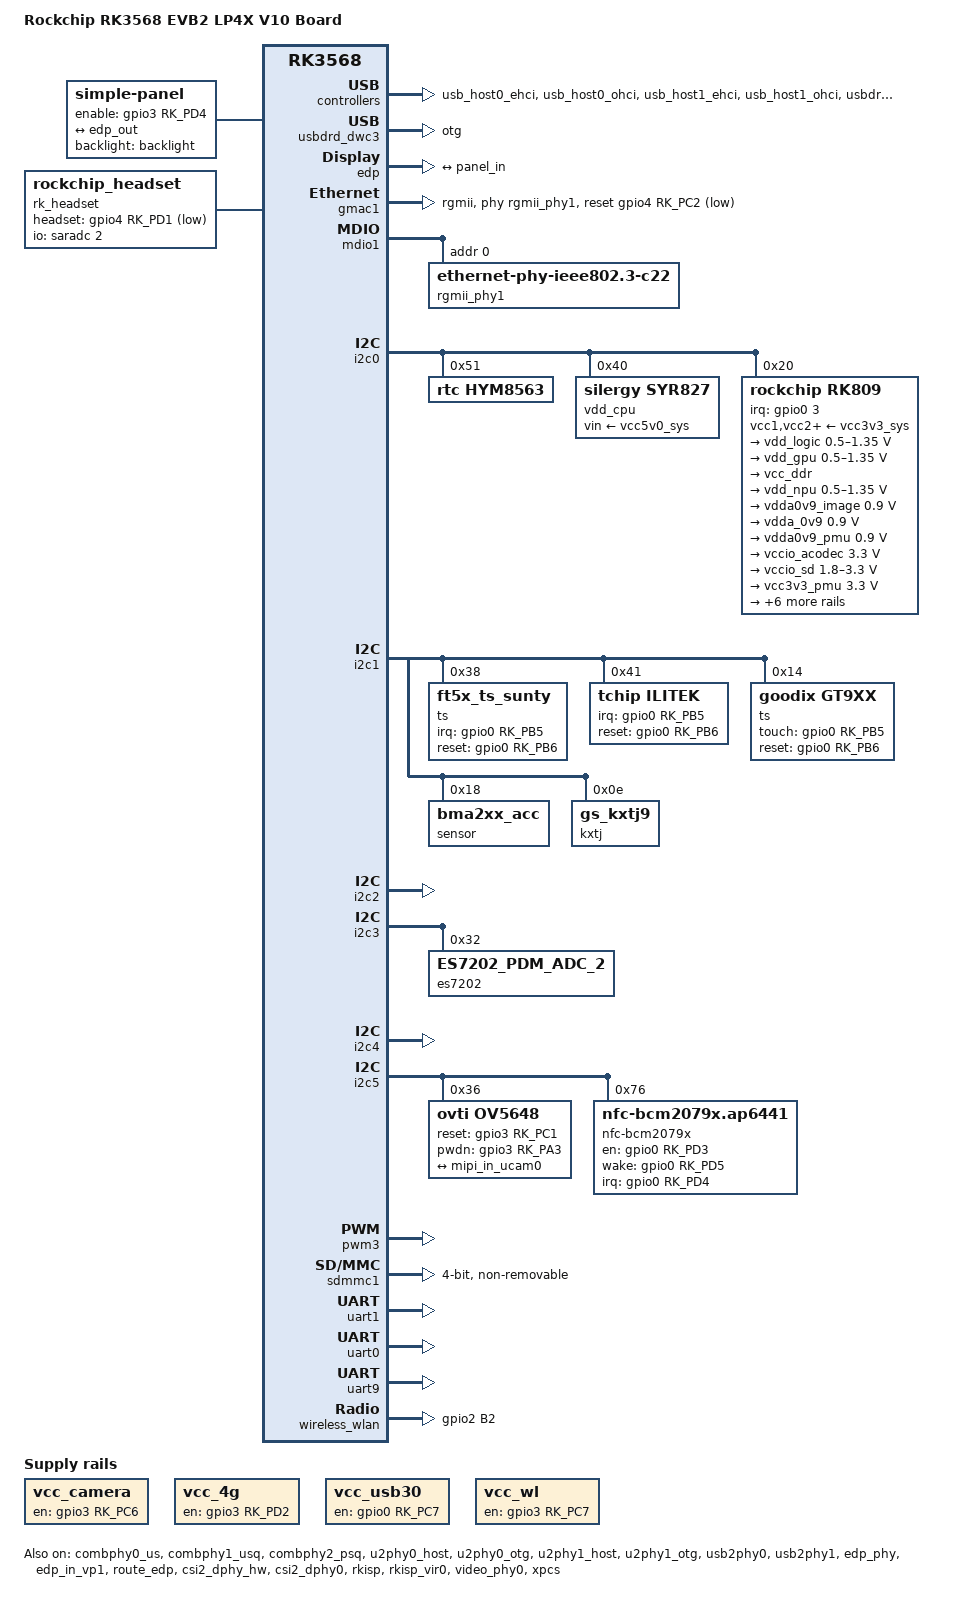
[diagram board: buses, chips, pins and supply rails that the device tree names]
// SPDX-License-Identifier: (GPL-2.0+ OR MIT)
/*
 * Copyright (c) 2020 Rockchip Electronics Co., Ltd.
 *
 */

/dts-v1/;

#include <dt-bindings/gpio/gpio.h>
#include <dt-bindings/pinctrl/rockchip.h>
#include "rk3568.dtsi"
#include "rk3568-evb-r111.dtsi"
#include "rk3568-android.dtsi"

/ {
	model = "Rockchip RK3568 EVB2 LP4X V10 Board";
	compatible = "rockchip,rk3568-evb2-lp4x-v10", "rockchip,rk3568";
	
	panel: panel {
		compatible = "simple-panel";
		backlight = <&backlight>;
		//power-supply = <&vcc_lcd>;
		enable-gpios = <&gpio3 RK_PD4 GPIO_ACTIVE_HIGH>;
		//pinctrl-names = "default";
		//pinctrl-0 = <&lcd_enable_gpio>;
		
		reset-delay-ms = <60>;
		enable-delay-ms = <120>;
		prepare-delay-ms = <60>;
		unprepare-delay-ms = <60>;
		disable-delay-ms = <60>;

		//bpc = <8>;		
		//bus-format = <MEDIA_BUS_FMT_RGB888_1X24>;
		
		//NV140FHM-N4N
		bpc = <6>;
		bus-format = <MEDIA_BUS_FMT_RGB666_1X18>;
		
		display-timings {
			native-mode = <&timing0>;
			//NV140FHM-N4N
			timing0: timing0 {				
				clock-frequency = <146500000>;
				hactive = <1920>;
				vactive = <1080>;
				hfront-porch = <48>;
				hsync-len = <32>;
				hback-porch = <180>;
				vfront-porch = <3>;
				vsync-len = <6>;
				vback-porch = <31>;
				hsync-active = <0>;
				vsync-active = <0>;
				de-active = <0>;
				pixelclk-active = <0>;
			};
		
			//N61 ERWEIMA
			timing1: timing1 {
				clock-frequency = <135000000>;
				hactive = <1920>;
				vactive = <1080>;
				hfront-porch = <160>;
				hsync-len = <10>;
				hback-porch = <160>;
				vfront-porch = <21>;
				vsync-len = <10>;
				vback-porch = <21>;
				hsync-active = <0>;
				vsync-active = <0>;
				de-active = <0>;
				pixelclk-active = <0>;
			};	
				
			timing2: timing2 {																			
				clock-frequency = <148000000>;		
				hactive = <1920>;
				vactive = <1080>;										
				hback-porch = <50>;
				hfront-porch = <134>;
				vback-porch = <20>;
				vfront-porch = <20>;																
				hsync-len = <36>;
				vsync-len = <6>;								
				hsync-active = <0>;
				vsync-active = <0>;
				de-active = <0>;
				pixelclk-active = <0>;
				swap-rb = <0>;
				swap-rg = <0>;
				swap-gb = <0>;								
			};
			
			//NV140FHM-N4F=B140HAN03.9 
			timing3: timing3 {
				clock-frequency = <138000000>;
				hactive = <1920>;
				vactive = <1080>;
				hback-porch = <48>;
				hfront-porch = <210>;
				vback-porch = <20>;
				vfront-porch = <30>;																
				hsync-len = <52>;
				vsync-len = <10>;								
				hsync-active = <0>;
				vsync-active = <0>;

				de-active = <0>;
				pixelclk-active = <0>;
			};
		};

		ports {
			panel_in: endpoint {
				remote-endpoint = <&edp_out>;
			};
		};
	};
	
	rk_headset: rk-headset {
		compatible = "rockchip_headset";
		headset_gpio = <&gpio4 RK_PD1 GPIO_ACTIVE_LOW>;
		pinctrl-names = "default";
		pinctrl-0 = <&hp_det>;
		io-channels = <&saradc 2>;
	};

	/*vcc2v5_sys: vcc2v5-ddr {
		compatible = "regulator-fixed";
		regulator-name = "vcc2v5-sys";
		regulator-always-on;
		regulator-boot-on;
		regulator-min-microvolt = <2500000>;
		regulator-max-microvolt = <2500000>;
		vin-supply = <&vcc3v3_sys>;
	};

	vcc3v3_pcie: gpio-regulator {
		compatible = "regulator-fixed";
		regulator-name = "vcc3v3_pcie";
		regulator-min-microvolt = <3300000>;
		regulator-max-microvolt = <3300000>;
		enable-active-high;
		gpio = <&gpio0 RK_PD4 GPIO_ACTIVE_HIGH>;
		startup-delay-us = <5000>;
		vin-supply = <&dc_12v>;
	};

	qsgmii_3v3: gpio-regulator {
		compatible = "regulator-gpio";
		regulator-name = "qsgmii_3v3";
		regulator-min-microvolt = <0100000>;
		regulator-max-microvolt = <3300000>;
		gpios = <&gpio0 RK_PB7 GPIO_ACTIVE_HIGH>;
		gpios-states = <0x1>;
		states = <0100000 0x0
			  3300000 0x1>;
	};

	vcc3v3_bu: vcc3v3-bu {
		compatible = "regulator-fixed";
		regulator-name = "vcc3v3_bu";
		regulator-always-on;
		regulator-boot-on;
		regulator-min-microvolt = <3300000>;
		regulator-max-microvolt = <3300000>;
		vin-supply = <&vcc5v0_sys>;
	};*/
	
	vcc_camera: vcc-camera-regulator {
		compatible = "regulator-fixed";
		gpio = <&gpio3 RK_PC6 GPIO_ACTIVE_HIGH>;
		pinctrl-names = "default";
		pinctrl-0 = <&camera_pwr>;
		regulator-name = "vcc_camera";
		enable-active-high;
		regulator-always-on;
		regulator-boot-on;
	};
	
	vcc_4g: vcc-4g-regulator {
		compatible = "regulator-fixed";
		gpio = <&gpio3 RK_PD2 GPIO_ACTIVE_HIGH>;
		pinctrl-names = "default";
		pinctrl-0 = <&pwr_4g>;
		regulator-name = "vcc_4g";
		enable-active-high;
		regulator-always-on;
		regulator-boot-on;
	};
	
	vcc_usb30: vcc-usb30-regulator {
		compatible = "regulator-fixed";
		gpio = <&gpio0 RK_PC7 GPIO_ACTIVE_HIGH>;
		pinctrl-names = "default";
		pinctrl-0 = <&pwr_usb30>;
		regulator-name = "vcc_usb30";
		enable-active-high;
		regulator-always-on;
		regulator-boot-on;
	};

	vcc_wl: vcc-wl-regulator {
		compatible = "regulator-fixed";
		gpio = <&gpio3 RK_PC7 GPIO_ACTIVE_HIGH>;
		pinctrl-names = "default";
		pinctrl-0 = <&pwr_wl>;
		regulator-name = "vcc_wl";
		enable-active-high;
		regulator-always-on;
		regulator-boot-on;
	};
	
	/*ext_cam_clk: external-camera-clock {
		compatible = "fixed-clock";
		clock-frequency = <24000000>;
		clock-output-names = "CLK_CAMERA_24MHZ";
		#clock-cells = <0>;
	};*/
};

&backlight {
	pwms = <&pwm4 0 100000 1>;
	enable-gpios = <&gpio4 RK_PC4 GPIO_ACTIVE_LOW>;
	usbreset-gpios = <&gpio0 RK_PC6 GPIO_ACTIVE_LOW>;//rocky for usb30 reset
	pinctrl-names = "default";
	pinctrl-0 = <&bl_en>;
};

/* add by rocky USB 3.0 OTG/SATA Combo PHY_0 */
&combphy0_us {
	status = "okay";
};

/* add by rocky USB 3.0 Host/SATA/QSGMII Combo PHY_1 */
&combphy1_usq {
	status = "okay";
};

&combphy2_psq {
	status = "okay";
};

//add by rocky usb2 phy0
&u2phy0_host {
	//phy-supply = <&vcc5v0_host>;
	status = "okay";
};

&u2phy0_otg {
	//vbus-supply = <&vcc5v0_otg>;
	status = "okay";
};

//add by rocky usb2.0 phy1
&u2phy1_host {
	//phy-supply = <&vcc5v0_host>;
	status = "okay";
};

&u2phy1_otg {
	//phy-supply = <&vcc5v0_host>;
	status = "okay";
};

/* add by rocky USB OTG/USB Host_1 USB 2.0 Comb PHY_0 */
&usb2phy0 {
	status = "okay";
};

/* add by rocky USB Host_1/USB Host_2 USB 2.0 Comb PHY_0 */
&usb2phy1 {
	status = "okay";
};

/* add by rocky USB 2.0 Host_2 EHCI controller for high speed */
&usb_host0_ehci {
	status = "okay";
};

/* add by rocky USB 2.0 Host_2 OHCI controller for full/low speed */
&usb_host0_ohci {
	status = "okay";
};

/* add by rocky USB 2.0 Host_3 EHCI controller for high speed */
&usb_host1_ehci {
	status = "okay";
};

/* add by rocky USB 2.0 Host_3 OHCI controller for full/low speed */
&usb_host1_ohci {
	status = "okay";
};

&usbdrd_dwc3 {
	dr_mode = "otg";
	extcon = <&usb2phy0>;
	status = "okay";
};

/* add by rocky USB 3.0 OTG controller */
&usbdrd30 {
	status = "okay";
};

&usbhost_dwc3 {
	status = "okay";
};

/* add by rocky USB 3.0 Host_1 controller */
&usbhost30 {
	status = "okay";
};
#if 0
/*
 * video_phy0 needs to be enabled
 * when dsi0 is enabled
 */
&dsi0 {
	status = "okay";
	//rockchip,lane-rate = <480>;
	reset-gpios = <&gpio3 RK_PA7 GPIO_ACTIVE_HIGH>;
	panel@0 {
		compatible = "simple-panel-dsi";
		reg = <0>;

		backlight = <&backlight>;
		power-supply=<&vcc_lcd>;
		enable-gpios = <&gpio3 RK_PD4 GPIO_ACTIVE_HIGH>;

		//pinctrl-names = "default";
		//pinctrl-0 = <&lcd_enable_gpio>;

		prepare-delay-ms = <120>;
		reset-delay-ms = <120>;
		init-delay-ms = <120>;
		stbyb-delay-ms = <120>;
		enable-delay-ms = <120>;
		disable-delay-ms = <120>;
		unprepare-delay-ms = <120>;

		//width-mm = <229>;
		//height-mm = <143>;

		dsi,flags = <(MIPI_DSI_MODE_VIDEO | MIPI_DSI_MODE_VIDEO_BURST |
			      MIPI_DSI_MODE_LPM | MIPI_DSI_MODE_EOT_PACKET)>;
		dsi,format = <MIPI_DSI_FMT_RGB888>;
		dsi,lanes = <4>;

		panel-init-sequence = [
			29 05 06 14 01 08 00 00 00
			29 05 06 3c 01 0c 00 0a 00
			29 05 06 64 01 0c 00 00 00
			29 05 06 68 01 0c 00 00 00
			29 05 06 6c 01 0c 00 00 00
			29 05 06 70 01 0c 00 00 00
			29 05 06 34 01 1f 00 00 00
			29 05 06 10 02 1f 00 00 00
			29 05 06 04 01 01 00 00 00
			29 05 06 04 02 01 00 00 00
			29 05 06 50 04 00 01 f0 03
			29 05 06 54 04 14 00 64 00
			29 05 06 58 04 80 07 a0 00
			29 05 06 5c 04 0a 00 19 00
			29 05 06 60 04 38 04 0a 00
			29 05 06 64 04 01 00 00 00
			29 05 06 a0 04 06 c4 00 00
			29 05 06 a0 04 06 c4 00 00
			29 05 06 04 05 04 00 00 00
			29 05 06 80 04 00 01 02 03
			29 05 06 84 04 04 07 05 08
			29 05 06 88 04 09 0a 0e 0f
			29 05 06 8c 04 0b 0c 0d 10
			29 05 06 90 04 16 17 11 12
			29 05 06 94 04 13 14 15 1b
			29 14 06 98 04 18 19 1a 06
			29 78 06 9c 04 33 04 00 00	
		];

		/*panel-exit-sequence = [
			05 00 01 28
			05 00 01 10
		];*/

		display-timings {
			native-mode = <&timing0>;

			timing0: timing0 {
				clock-frequency = <148500000>;
				hactive = <1920>;
				vactive = <1080>;
				hback-porch = <100>;
				hsync-len = <20>;
				hfront-porch = <160>;
				vback-porch = <25>;
				vfront-porch = <10>;
				vsync-len = <10>;
				hsync-active = <0>;
				vsync-active = <0>;
				de-active = <0>;
				pixelclk-active = <0>;
			};
		};

		ports {
			#address-cells = <1>;
			#size-cells = <0>;

			port@0 {
				reg = <0>;
				panel_in_dsi: endpoint {
					remote-endpoint = <&dsi_out_panel>;
				};
			};
		};
	};

	ports {
		#address-cells = <1>;
		#size-cells = <0>;

		port@1 {
			reg = <1>;
			dsi_out_panel: endpoint {
				remote-endpoint = <&panel_in_dsi>;
			};
		};
	};

};

&route_dsi0 {
	status = "okay";
	connect = <&vp1_out_dsi0>;
	logo,uboot = "logo.bmp";
};

&dsi0_in_vp0 {
	status = "disabled";
};

&dsi0_in_vp1 {
	status = "okay";
};
#endif
&route_hdmi {
	status = "disabled";
	connect = <&vp1_out_hdmi>;
};

/*
 * video_phy1 needs to be enabled
 * when dsi1 is enabled
 */
&dsi1 {
	status = "disabled";
};

&dsi1_in_vp0 {
	status = "disabled";
};

&dsi1_in_vp1 {
	status = "disabled";
};

&route_dsi1 {
	status = "disabled";
	connect = <&vp1_out_dsi1>;
	logo,uboot = "logo_one.bmp";
};

&edp {
	status = "okay";
	force-hpd;

	ports {
		port@1 {
			reg = <1>;			
			#address-cells = <1>;
			#size-cells = <0>;

			edp_out: endpoint@0 {
				reg = <0>;
				remote-endpoint = <&panel_in>;
			};
		};
	};
};

&edp_phy {
	status = "okay";
};

&edp_in_vp1 {
	status = "okay";
};

&edp_in_vp0 {
	status = "disabled";
};

&route_edp {
	status = "okay";
	connect = <&vp1_out_edp>;
};

#if 0
&gmac0 {
	phy-supply = <&qsgmii_3v3>;
	phy-mode = "qsgmii";
	rockchip,xpcs = <&xpcs>;

	assigned-clocks = <&cru SCLK_GMAC0_RX_TX>;
	assigned-clock-parents = <&gmac0_xpcsclk>;

	power-domains = <&power RK3568_PD_PIPE>;
	phys = <&combphy1_usq PHY_TYPE_QSGMII>;
	phy-handle = <&qsgmii_phy0>;

	status = "okay";
};

&gmac1 {
	phy-supply = <&qsgmii_3v3>;
	phy-mode = "qsgmii";

	snps,reset-gpio = <&gpio3 RK_PD5 GPIO_ACTIVE_LOW>;
	snps,reset-active-low;
	/* Reset time is 20ms, 100ms for rtl8211f */
	snps,reset-delays-us = <0 20000 100000>;

	assigned-clocks = <&cru SCLK_GMAC1_RX_TX>;
	assigned-clock-parents = <&gmac1_xpcsclk>;

	pinctrl-names = "default";
	pinctrl-0 = <&gmac1m1_miim>;

	power-domains = <&power RK3568_PD_PIPE>;
	phy-handle = <&qsgmii_phy1>;

	status = "okay";
};
#endif

&gmac1 {
	phy-mode = "rgmii";
	clock_in_out = "output";//rk3566 provide
	//clock_in_out = "input";//phy provide

	snps,reset-gpio = <&gpio4 RK_PC2 GPIO_ACTIVE_LOW>;
	snps,reset-active-low;
	/* Reset time is 20ms, 100ms for rtl8211f */
	snps,reset-delays-us = <0 20000 100000>;

	assigned-clocks = <&cru SCLK_GMAC1_RX_TX>, <&cru SCLK_GMAC1>;
	assigned-clock-parents = <&cru SCLK_GMAC1_RGMII_SPEED>, <&cru CLK_MAC1_2TOP>;//rk3566 provide
	//assigned-clock-parents = <&cru SCLK_GMAC1_RGMII_SPEED>, <&cru CLK_MAC1_2TOP>, <&gmac1_clkin>;//phy provide
	assigned-clock-rates = <0>, <125000000>;

	pinctrl-names = "default";
	#if 1//1-rk3566 provide   0-phy provide
	pinctrl-0 = <&gmac1m1_miim
		     &gmac1m1_tx_bus2_level3
		     &gmac1m1_rx_bus2
		     &gmac1m1_rgmii_clk_level2
		     &gmac1m1_rgmii_bus_level3>;
	#else
	pinctrl-0 = <&gmac1m0_miim
		     &gmac1m0_tx_bus2_level3
		     &gmac1m0_rx_bus2
		     &gmac1m0_rgmii_clk_level2
		     &gmac1m0_rgmii_bus_level3
			 &gmac1m0_clkinout>;
	#endif
	
	tx_delay = <0x30>;//rk3566 provide
	rx_delay = <0x1e>;//rk3566 provide
	//tx_delay = <0x3b>;//phy provide
	//rx_delay = <0x1f>;//phy provide

	phy-handle = <&rgmii_phy1>;
	status = "okay";
};

/*&mdio0 {
	rgmii_phy0: phy@0 {
		compatible = "ethernet-phy-ieee802.3-c22";
		reg = <0x0>;
	};
};*/

&mdio1 {
	rgmii_phy1: phy@0 {
		compatible = "ethernet-phy-ieee802.3-c22";
		reg = <0x0>;
	};
};

/*
 * power-supply should switche to vcc3v3_lcd1_n
 * when mipi panel is connected to dsi1.
 */
/*&gt1x {
	power-supply = <&vcc3v3_lcd0_n>;
};*/

&i2c0 {
	status = "okay";

	hym8563: hym8563@51 {
		compatible = "rtc,hym8563";
		reg = <0x51>;
		#clock-cells = <0>;
		status = "okay";
	};

	/*vdd_cpu: tcs4525@1c {
		compatible = "tcs,tcs452x";
		reg = <0x1c>;
		vin-supply = <&vcc5v0_sys>;
		regulator-compatible = "fan53555-reg";
		regulator-name = "vdd_cpu";
		regulator-min-microvolt = <712500>;
		regulator-max-microvolt = <1390000>;
		regulator-init-microvolt = <900000>;
		regulator-ramp-delay = <2300>;
		fcs,suspend-voltage-selector = <1>;
		regulator-boot-on;
		regulator-always-on;
		regulator-state-mem {
			regulator-off-in-suspend;
		};
	};*/

	vdd_cpu: syr827@40 {
		compatible = "silergy,syr827";
		reg = <0x40>;
		vin-supply = <&vcc5v0_sys>;
		regulator-compatible = "fan53555-reg";
		//pinctrl-0 = <&soc_slppin_gpio>;
		//vsel-gpios = <&gpio0 2 GPIO_ACTIVE_HIGH>;
		regulator-name = "vdd_cpu";
		regulator-min-microvolt = <712500>;
		regulator-max-microvolt = <1500000>;
		regulator-init-microvolt = <900000>;//rocky
		regulator-ramp-delay = <1000>;
		fcs,suspend-voltage-selector = <1>;
		regulator-always-on;
		regulator-boot-on;
		regulator-initial-state = <3>;
		regulator-state-mem {
			regulator-off-in-suspend;
		};
	};

	rk809: pmic@20 {
		compatible = "rockchip,rk809";
		reg = <0x20>;
		interrupt-parent = <&gpio0>;
		interrupts = <3 IRQ_TYPE_LEVEL_LOW>;

		pinctrl-names = "default", "pmic-sleep",
				"pmic-power-off", "pmic-reset";
		pinctrl-0 = <&pmic_int>;
		pinctrl-1 = <&soc_slppin_slp>, <&rk817_slppin_slp>;
		pinctrl-2 = <&soc_slppin_gpio>, <&rk817_slppin_pwrdn>;
		pinctrl-3 = <&soc_slppin_gpio>, <&rk817_slppin_rst>;

		rockchip,system-power-controller;
		wakeup-source;
		#clock-cells = <1>;
		clock-output-names = "rk808-clkout1", "rk808-clkout2";
		//fb-inner-reg-idxs = <2>;
		/* 1: rst regs (default in codes), 0: rst the pmic */
		pmic-reset-func = <0>;
		/* not save the PMIC_POWER_EN register in uboot */
		not-save-power-en = <1>;

		vcc1-supply = <&vcc3v3_sys>;
		vcc2-supply = <&vcc3v3_sys>;
		vcc3-supply = <&vcc3v3_sys>;
		vcc4-supply = <&vcc3v3_sys>;
		vcc5-supply = <&vcc3v3_sys>;
		vcc6-supply = <&vcc3v3_sys>;
		vcc7-supply = <&vcc3v3_sys>;
		vcc8-supply = <&vcc3v3_sys>;
		vcc9-supply = <&vcc3v3_sys>;

		pwrkey {
			status = "okay";
		};

		rtc {
			status = "okay";
		};

		pinctrl_rk8xx: pinctrl_rk8xx {
			gpio-controller;
			#gpio-cells = <2>;

			rk817_slppin_null: rk817_slppin_null {
				pins = "gpio_slp";
				function = "pin_fun0";
			};

			rk817_slppin_slp: rk817_slppin_slp {
				pins = "gpio_slp";
				function = "pin_fun1";
			};

			rk817_slppin_pwrdn: rk817_slppin_pwrdn {
				pins = "gpio_slp";
				function = "pin_fun2";
			};

			rk817_slppin_rst: rk817_slppin_rst {
				pins = "gpio_slp";
				function = "pin_fun3";
			};
		};

		regulators {
			vdd_logic: DCDC_REG1 {
				regulator-always-on;
				regulator-boot-on;
				regulator-min-microvolt = <500000>;
				regulator-max-microvolt = <1350000>;
				regulator-init-microvolt = <900000>;
				regulator-ramp-delay = <6001>;
				regulator-initial-mode = <0x2>;
				regulator-name = "vdd_logic";
				regulator-state-mem {
					regulator-off-in-suspend;
				};
			};

			vdd_gpu: DCDC_REG2 {
				regulator-always-on;
				regulator-boot-on;
				regulator-min-microvolt = <500000>;
				regulator-max-microvolt = <1350000>;
				regulator-init-microvolt = <900000>;
				regulator-ramp-delay = <6001>;
				regulator-initial-mode = <0x2>;
				regulator-name = "vdd_gpu";
				regulator-state-mem {
					regulator-off-in-suspend;
				};
			};

			vcc_ddr: DCDC_REG3 {
				regulator-always-on;
				regulator-boot-on;
				regulator-initial-mode = <0x2>;
				regulator-name = "vcc_ddr";
				regulator-state-mem {
					regulator-on-in-suspend;
				};
			};

			vdd_npu: DCDC_REG4 {
				regulator-always-on;
				regulator-boot-on;
				regulator-min-microvolt = <500000>;
				regulator-max-microvolt = <1350000>;
				regulator-init-microvolt = <900000>;
				regulator-ramp-delay = <6001>;
				regulator-initial-mode = <0x2>;
				regulator-name = "vdd_npu";
				regulator-state-mem {
					regulator-off-in-suspend;
				};
			};

			vdda0v9_image: LDO_REG1 {
				regulator-boot-on;
				regulator-always-on;
				regulator-min-microvolt = <900000>;
				regulator-max-microvolt = <900000>;
				regulator-name = "vdda0v9_image";
				regulator-state-mem {
					regulator-off-in-suspend;
				};
			};

			vdda_0v9: LDO_REG2 {
				regulator-always-on;
				regulator-boot-on;
				regulator-min-microvolt = <900000>;
				regulator-max-microvolt = <900000>;
				regulator-name = "vdda_0v9";
				regulator-state-mem {
					regulator-off-in-suspend;
				};
			};

			vdda0v9_pmu: LDO_REG3 {
				regulator-always-on;
				regulator-boot-on;
				regulator-min-microvolt = <900000>;
				regulator-max-microvolt = <900000>;
				regulator-name = "vdda0v9_pmu";
				regulator-state-mem {
					regulator-on-in-suspend;
					regulator-suspend-microvolt = <900000>;
				};
			};

			vccio_acodec: LDO_REG4 {
				regulator-always-on;
				regulator-boot-on;
				regulator-min-microvolt = <3300000>;
				regulator-max-microvolt = <3300000>;
				regulator-name = "vccio_acodec";
				regulator-state-mem {
					regulator-off-in-suspend;
				};
			};

			vccio_sd: LDO_REG5 {
				regulator-always-on;
				regulator-boot-on;
				regulator-min-microvolt = <1800000>;
				regulator-max-microvolt = <3300000>;
				regulator-name = "vccio_sd";
				regulator-state-mem {
					regulator-off-in-suspend;
				};
			};

			vcc3v3_pmu: LDO_REG6 {
				regulator-always-on;
				regulator-boot-on;
				regulator-min-microvolt = <3300000>;
				regulator-max-microvolt = <3300000>;
				regulator-name = "vcc3v3_pmu";
				regulator-state-mem {
					regulator-on-in-suspend;
					regulator-suspend-microvolt = <3300000>;
				};
			};

			vcca_1v8: LDO_REG7 {
				regulator-always-on;
				regulator-boot-on;
				regulator-min-microvolt = <1800000>;
				regulator-max-microvolt = <1800000>;
				regulator-name = "vcca_1v8";
				regulator-state-mem {
					regulator-off-in-suspend;
				};
			};

			vcca1v8_pmu: LDO_REG8 {
				regulator-always-on;
				regulator-boot-on;
				regulator-min-microvolt = <1800000>;
				regulator-max-microvolt = <1800000>;
				regulator-name = "vcca1v8_pmu";
				regulator-state-mem {
					regulator-on-in-suspend;
					regulator-suspend-microvolt = <1800000>;
				};
			};

			vcca1v8_image: LDO_REG9 {
				regulator-always-on;
				regulator-boot-on;
				regulator-min-microvolt = <1800000>;
				regulator-max-microvolt = <1800000>;
				regulator-name = "vcca1v8_image";
				regulator-state-mem {
					regulator-off-in-suspend;
				};
			};

			vcc_1v8: DCDC_REG5 {
				regulator-always-on;
				regulator-boot-on;
				regulator-min-microvolt = <1800000>;
				regulator-max-microvolt = <1800000>;
				regulator-name = "vcc_1v8";
				regulator-state-mem {
					regulator-off-in-suspend;
				};
			};

			vcc_3v3: SWITCH_REG1 {
				regulator-always-on;
				regulator-boot-on;
				regulator-name = "vcc_3v3";
				regulator-state-mem {
					regulator-off-in-suspend;
				};
			};

			vcc3v3_sd: SWITCH_REG2 {
				regulator-always-on;
				regulator-boot-on;
				regulator-name = "vcc3v3_sd";
				regulator-state-mem {
					regulator-off-in-suspend;
				};
			};
		};

		rk809_codec: codec {
			#sound-dai-cells = <0>;
			compatible = "rockchip,rk809-codec", "rockchip,rk817-codec";
			clocks = <&cru I2S1_MCLKOUT>;
			clock-names = "mclk";
			assigned-clocks = <&cru I2S1_MCLKOUT>, <&cru I2S1_MCLK_TX_IOE>;
			assigned-clock-rates = <12288000>;
			assigned-clock-parents = <&cru I2S1_MCLKOUT_TX>, <&cru I2S1_MCLKOUT_TX>;
			pinctrl-names = "default";
			pinctrl-0 = <&i2s1m0_mclk>;
			hp-volume = <8>;//20-4.39mW//add 22Ohm  8-0.385-4.49mW//4.9mW
			spk-volume = <16>;//14-3.31W  15-3.0w 16-2.76w 18-2.27W
			capture-volume = <20>;//20
			//out-l2spk-r2hp;
			mic-in-differential;
			//pdmdata-out-enable;
			use-ext-amplifier;
			//adc-for-loopback;
			spk-ctl-gpios = <&gpio3 RK_PC3 GPIO_ACTIVE_HIGH>;
			status = "okay";
		};
	};
};

&i2c1 {
	status = "okay";
	
	ts@38 {
        status = "okay";
        compatible = "ft5x_ts_sunty";
        reg = <0x38>;
        irq-gpio = <&gpio0 RK_PB5 IRQ_TYPE_LEVEL_LOW>;
        reset-gpio = <&gpio0 RK_PB6 GPIO_ACTIVE_HIGH>;
        screen_max_x = <1920>;
        screen_max_y = <1080>;
		//exchange_x_y_flag = <1>;
        revert_x_flag = <0>;
        revert_y_flag = <0>;
		//pinctrl-names = "default";
		//pinctrl-0 = <&tp_irq &tp_rst>;
    };

	ilitek@41 {
		status = "okay";
		compatible = "tchip,ilitek";
		reg = <0x41>;
		ilitek,irq-gpio = <&gpio0 RK_PB5 IRQ_TYPE_LEVEL_LOW>;
		ilitek,reset-gpio = <&gpio0 RK_PB6 GPIO_ACTIVE_HIGH>;	    
	};
	
	ts@14 {
		compatible = "goodix,gt9xx";
		reg = <0x14>;
		touch-gpio = <&gpio0 RK_PB5 IRQ_TYPE_LEVEL_LOW>;
		reset-gpio = <&gpio0 RK_PB6 GPIO_ACTIVE_HIGH>;
		max-x = <1920>;
		max-y = <1080>;
		tp-size = <101>;
		status = "okay";
    };
	
	sensor@18 {
		status = "okay";
		compatible = "bma2xx_acc";
		reg = <0x18>;
		type = <SENSOR_TYPE_ACCEL>;
		irq_enable = <0>;
		//pinctrl-names = "default";
		//pinctrl-0 = <&sensor_gpio>;
		//irq-gpio = <&gpio4 RK_PA6 IRQ_TYPE_EDGE_RISING>;
		poll_delay_ms = <10>;
		power-off-in-suspend = <1>;
		layout = <4>;
	};
	
	kxtj: kxtj2@0e {
		status = "okay";
		compatible = "gs_kxtj9";
		reg = <0x0e>;
		type = <SENSOR_TYPE_ACCEL>;
		irq_enable = <0>;
		//pinctrl-names = "default";
		//pinctrl-0 = <&sensor_gpio>;
		//irq-gpio = <&gpio4 RK_PA6 IRQ_TYPE_EDGE_RISING>;
		poll_delay_ms = <30>;
		power-off-in-suspend = <1>;
		layout = <7>;
	};
};

&i2c2 {
	status = "okay";
	pinctrl-names = "default";
	pinctrl-0 = <&i2c2m1_xfer>;
};

&i2c3 {
	status = "okay";
	es7202: es7202@32 {
		status = "okay";
		#sound-dai-cells = <0>;
		compatible = "ES7202_PDM_ADC_2";
		reg = <0x32>;
	};
};

&i2c4 {
	status = "okay";
};

&i2c5 {
	status = "okay";
	ov5648: ov5648@36 {
		compatible = "ovti,ov5648";
		status = "okay";
		reg = <0x36>;
		//clocks = <&cru CLK_CAM0_OUT>;
		clocks = <&cru CLK_CIF_OUT>;//rocky
		clock-names = "xvclk";
		power-domains = <&power RK3568_PD_VI>;//rocky
		/* avdd-supply = <>; */
		/* dvdd-supply = <>; */
		/* dovdd-supply = <>; */
		/* reset-gpios = <>; */
		//dovdd-supply = <&vcc1v8_dvp>;
		//power-gpios = <&gpio0 RK_PD5 GPIO_ACTIVE_HIGH>;
		reset-gpios = <&gpio3 RK_PC1 GPIO_ACTIVE_HIGH>;
		pwdn-gpios = <&gpio3 RK_PA3 GPIO_ACTIVE_HIGH>;
		pinctrl-names = "rockchip,camera_default", "rockchip,camera_sleep";
		//pinctrl-0 = <&cam_clkout0>;
		//pinctrl-1 = <&cam_sleep>;
		pinctrl-0 = <&cif_clk>;
		pinctrl-1 = <&cam_sleep_2>;
		rockchip,camera-module-index = <0>;
		rockchip,camera-module-facing = "front";
		rockchip,camera-module-name = "default";
		rockchip,camera-module-lens-name = "default";                

		port {
				ov5648_out: endpoint {
						remote-endpoint = <&mipi_in_ucam0>;
						//remote-endpoint = <&mipi_in_ucam1>;
						data-lanes = <1 2>;
				};
		};
    };

	nfc-bcm2079x@76 {
		compatible = "nfc-bcm2079x.ap6441";
		reg = <0x76>;
		//pw_gpio = <&gpio7 16 GPIO_ACTIVE_HIGH>;
		en_gpio   = <&gpio0 RK_PD3 GPIO_ACTIVE_HIGH>;
		wake_gpio = <&gpio0 RK_PD5 GPIO_ACTIVE_HIGH>;
		irq_gpio  = <&gpio0 RK_PD4 IRQ_TYPE_EDGE_RISING>;
		status = "okay";
    };
	
};

&csi2_dphy_hw {
	status = "okay";
};

&csi2_dphy0 {
	status = "okay";

	ports {
		#address-cells = <1>;
		#size-cells = <0>;
		port@0 {
			reg = <0>;
			#address-cells = <1>;
			#size-cells = <0>;
			
			mipi_in_ucam0: endpoint@0 {
				reg = <0>;
				remote-endpoint = <&ov5648_out>;
				data-lanes = <1 2>;
			};
		};
		port@1 {
			reg = <1>;
			#address-cells = <1>;
			#size-cells = <0>;

			csidphy0_out: endpoint@0 {
				reg = <0>;
				remote-endpoint = <&isp0_in>;
			};
		};
	};
};

&rkisp {
	status = "okay";
};

&rkisp_mmu {
	status = "okay";
};

&rkisp_vir0 {
	status = "okay";

	port {
		#address-cells = <1>;
		#size-cells = <0>;

		isp0_in: endpoint@0 {
			reg = <0>;
			remote-endpoint = <&csidphy0_out>;
		};
	};
};

&mdio1 {
	rgmii_phy1: phy@0 {
		compatible = "ethernet-phy-ieee802.3-c22";
		reg = <0x0>;
	};
};

&video_phy0 {
	status = "okay";
};

&video_phy1 {
	status = "disabled";
};

/*&pcie2x1 {
	reset-gpios = <&gpio1 RK_PB2 GPIO_ACTIVE_HIGH>;
	vpcie3v3-supply = <&pcie20_3v3>;
	status = "okay";
};

&pcie30phy {
	status = "okay";
};

&pcie3x2 {
	reset-gpios = <&gpio0 RK_PC6 GPIO_ACTIVE_HIGH>;
	vpcie3v3-supply = <&pcie30_3v3>;
	status = "okay";
};*/

&pinctrl {
	headphone {
		hp_det: hp-det {
			rockchip,pins = <4 RK_PD1 RK_FUNC_GPIO &pcfg_pull_down>;
		};
	};
/*
	mxc6655xa {
		mxc6655xa_irq_gpio: mxc6655xa_irq_gpio {
			rockchip,pins = <3 RK_PD7 RK_FUNC_GPIO &pcfg_pull_none>;
		};
	};

	sii902x {
		sii902x_hdmi_int: sii902x-hdmi-int {
			rockchip,pins = <3 RK_PA0 RK_FUNC_GPIO &pcfg_pull_up>;
		};
	};*/

	sdio-pwrseq {
		/*wifi_enable_h: wifi-enable-h {
			rockchip,pins = <2 RK_PB1 RK_FUNC_GPIO &pcfg_pull_none>;
		};*/

		wifi_32k: wifi-32k {
			rockchip,pins = <2 RK_PC6 1 &pcfg_pull_none>;
		};
	};

	wireless-wlan {
		wifi_host_wake_irq: wifi-host-wake-irq {
			rockchip,pins = <2 RK_PB2 RK_FUNC_GPIO &pcfg_pull_down>;
		};
		pwr_wl: pwr-wl {
			rockchip,pins = <3 RK_PC7 RK_FUNC_GPIO &pcfg_pull_none>;
		};
	};

	wireless-bluetooth {
		uart1_gpios: uart1-gpios {
			rockchip,pins = <2 RK_PB5 RK_FUNC_GPIO &pcfg_pull_none>;
		};
	};

	bl_ctrl {
		bl_en: bl-en {
			rockchip,pins = <4 RK_PC4 RK_FUNC_GPIO &pcfg_pull_none>;
		};
	};

	lcd {
		/*lcd_rst_gpio: lcd-rst-gpio {
			rockchip,pins = <0 RK_PC6 RK_FUNC_GPIO &pcfg_pull_none>;
		};*/

		lcd_enable_gpio: lcd-enable-gpio {
			rockchip,pins = <3 RK_PD1 RK_FUNC_GPIO &pcfg_pull_none>;
		};
	};

	usb {
		camera_pwr: camera-pwr {
			rockchip,pins = <3 RK_PC6 RK_FUNC_GPIO &pcfg_pull_none>;
		};
		
		pwr_4g: pwr-4g {
			rockchip,pins = <3 RK_PD2 RK_FUNC_GPIO &pcfg_pull_none>;
		};
		
		pwr_usb30: pwr-usb30 {
			rockchip,pins = <0 RK_PC7 RK_FUNC_GPIO &pcfg_pull_none>;
		};
		
	};
	
	cam {
		cam_clkout0: cam-clkout0 {
			rockchip,pins =
				/* cam_clkout0 */
				<4 RK_PA7 1 &pcfg_pull_none>;
		};

		cam_sleep: cam-sleep {
			rockchip,pins =
				/* cam_sleep */
				<4 RK_PA7 RK_FUNC_GPIO &pcfg_pull_none>;
		};
		
		cam_sleep_2: cam-sleep-2 {
			rockchip,pins =
				/* cam_sleep */
				<4 RK_PC0 RK_FUNC_GPIO &pcfg_pull_none>;
		};
	};
};

/*&pmu_io_domains {
	vccio6-supply = <&vcc_3v3>;
};*/

&pwm3 {
	status = "okay";

	compatible = "rockchip,remotectl-pwm";
	remote_pwm_id = <3>;
	handle_cpu_id = <1>;
	remote_support_psci = <0>;
	pinctrl-names = "default";
	pinctrl-0 = <&pwm3_pins>;

	ir_key1 {
            rockchip,usercode = <0xff00>;
            rockchip,key_table =                        
				<0xe7   KEY_POWER>,
				<0xe8   388>,    
				<0xb9   KEY_UP>,
				<0xe9   KEY_DOWN>,
				<0xb8   KEY_LEFT>,
				<0xea   KEY_RIGHT>,
				<0xaa   KEY_ENTER>,
                <0xf9   KEY_HOME>,
				<0xbd   164>,
				<0xbf   KEY_BACK>,
                <0xeb   KEY_VOLUMEDOWN>,			
				<0xfb   KEY_MENU>,
                <0xef   KEY_VOLUMEUP>;
        };
	
    ir_key2 {
            rockchip,usercode = <0x7f80>;
            rockchip,key_table =                        
				<0xed   KEY_POWER>,
				<0xf2   388>,    
				<0xfa   KEY_UP>,
				<0xe4   KEY_DOWN>,
				<0xf8   KEY_LEFT>,
				<0xf6   KEY_RIGHT>,
				<0xf7   KEY_ENTER>,			
				<0xfb   KEY_MENU>,			
                <0xfe   KEY_HOME>,						
				<0xf9   KEY_BACK>,			
                <0xf3   KEY_VOLUMEDOWN>,						
                <0xf1   KEY_VOLUMEUP>;
        };	
		
	ir_key3 {
            rockchip,usercode = <0x01fe>;
            rockchip,key_table =                        
				<0x48   KEY_POWER>,
				<0xb0   388>,    
				<0xa0   KEY_UP>,
				<0xd8   KEY_DOWN>,
				<0xe0   KEY_LEFT>,
				<0x90   KEY_RIGHT>,
				<0x10   KEY_ENTER>,			
				<0x20   KEY_MENU>,			
				<0x80   KEY_HOME>,						
				<0x60   KEY_BACK>,			
				<0x30   KEY_VOLUMEDOWN>,						
				<0x70   KEY_VOLUMEUP>;
        };
};

&pwm7 {
	status = "disabled";
};

&sdmmc1 {
	max-frequency = <150000000>;
	supports-sdio;
	bus-width = <4>;
	disable-wp;
	cap-sd-highspeed;
	cap-sdio-irq;
	keep-power-in-suspend;
	mmc-pwrseq = <&sdio_pwrseq>;
	non-removable;
	pinctrl-names = "default";
	pinctrl-0 = <&sdmmc1_bus4 &sdmmc1_cmd &sdmmc1_clk>;
	sd-uhs-sdr104;
	status = "okay";
};

&sdmmc2 {
	status = "disabled";
};

&uart1 {
	status = "okay";
	pinctrl-names = "default";
	pinctrl-0 = <&uart1m0_xfer &uart1m0_ctsn>;
};

&uart0 {
	status = "okay";
	pinctrl-names = "default";
	pinctrl-0 = <&uart0_xfer>;
};

&uart9 {
	status = "okay";
	pinctrl-names = "default";
	pinctrl-0 = <&uart9m1_xfer>;
};

/*&vcc3v3_lcd0_n {
	gpio = <&gpio0 RK_PC7 GPIO_ACTIVE_HIGH>;
	enable-active-high;
};

&vcc3v3_lcd1_n {
	gpio = <&gpio0 RK_PC5 GPIO_ACTIVE_HIGH>;
	enable-active-high;
};*/

&wireless_wlan {
	pinctrl-names = "default";
	pinctrl-0 = <&wifi_host_wake_irq>;
	WIFI,host_wake_irq = <&gpio2 RK_PB2 GPIO_ACTIVE_HIGH>;
};

&xpcs {
	status = "okay";
};

&vcc_lcd {
	regulator-always-on;
};

/*============note===========*/

/*
8821CS AP6255 AP6256:vcc_1v8
8723DS AP6212:vcc_3v3
*/
&pmu_io_domains {
	vccio4-supply = <&vcc_3v3>;
};
/*============note===========*/
